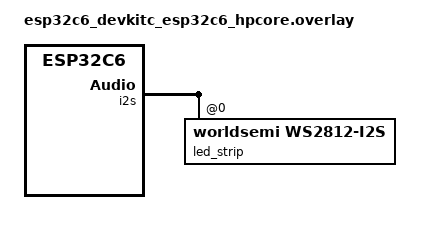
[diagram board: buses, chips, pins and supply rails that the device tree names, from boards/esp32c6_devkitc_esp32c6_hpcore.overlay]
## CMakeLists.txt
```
# SPDX-License-Identifier: MIT

cmake_minimum_required(VERSION 3.20.0)

find_package(Zephyr REQUIRED HINTS $ENV{ZEPHYR_BASE})
project(wifi_ble_scanner)

add_subdirectory(src)
```

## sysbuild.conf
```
# SPDX-License-Identifier: MIT

SB_CONFIG_BOOTLOADER_MCUBOOT=y
```

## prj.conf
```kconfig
## SPDX-License-Identifier: MIT

CONFIG_LOG=y
CONFIG_LOG_DEFAULT_LEVEL=3
CONFIG_LOG_MAX_LEVEL=3
CONFIG_CONSOLE=y
CONFIG_REBOOT=y
CONFIG_UART_CONSOLE=y
CONFIG_LED_STRIP=y

CONFIG_NETWORKING=y
CONFIG_NET_IPV4=y
CONFIG_NET_DHCPV4=y
CONFIG_NET_IPV6=n
CONFIG_NET_HOSTNAME_ENABLE=y
CONFIG_NET_HOSTNAME_DYNAMIC=y
CONFIG_NET_HOSTNAME_MAX_LEN=63
CONFIG_NET_HOSTNAME="wifi-ble-scanner"
CONFIG_NET_UDP=y
CONFIG_NET_SOCKETS=y

CONFIG_WIFI=y
CONFIG_NET_L2_WIFI_SHELL=y
CONFIG_WIFI_CREDENTIALS=y

CONFIG_BOOTLOADER_MCUBOOT=y

CONFIG_NET_BUF=y
CONFIG_ZCBOR=y
CONFIG_CRC=y
CONFIG_IMG_MANAGER=y
CONFIG_MCUBOOT_IMG_MANAGER=y
CONFIG_MCUMGR=y
CONFIG_MCUMGR_MGMT_NOTIFICATION_HOOKS=y
CONFIG_MCUMGR_GRP_IMG=y
CONFIG_MCUMGR_GRP_OS=y
CONFIG_MCUMGR_GRP_OS_TASKSTAT=y
CONFIG_MCUMGR_GRP_SHELL=y
CONFIG_MCUMGR_GRP_SETTINGS=y
CONFIG_MCUMGR_GRP_SETTINGS_ACCESS_HOOK=y
CONFIG_MCUMGR_GRP_STAT=y
CONFIG_MCUMGR_TRANSPORT_UDP=y
CONFIG_MCUMGR_TRANSPORT_UDP_IPV4=y
CONFIG_MCUMGR_TRANSPORT_UDP_IPV6=n
CONFIG_BASE64=y
CONFIG_MDNS_RESPONDER=y
CONFIG_STREAM_FLASH=y

CONFIG_FLASH=y
CONFIG_FLASH_PAGE_LAYOUT=y
CONFIG_FLASH_MAP=y
CONFIG_NVS=y
CONFIG_SETTINGS=y
CONFIG_SETTINGS_NVS=y
CONFIG_SETTINGS_RUNTIME=y
CONFIG_SETTINGS_SHELL=y

CONFIG_SHELL=y
CONFIG_SHELL_BACKEND_DUMMY=y
CONFIG_SHELL_BACKEND_DUMMY_BUF_SIZE=1024
CONFIG_SHELL_BACKEND_SERIAL=y
CONFIG_SHELL_PROMPT_UART="wifi-scanner:~$ "

CONFIG_MAIN_STACK_SIZE=4096
CONFIG_SHELL_STACK_SIZE=5200
CONFIG_SYSTEM_WORKQUEUE_STACK_SIZE=4096
CONFIG_MCUMGR_TRANSPORT_UDP_STACK_SIZE=4096

CONFIG_THREAD_MONITOR=y
CONFIG_STATS=y
CONFIG_STATS_NAMES=y

CONFIG_NET_MGMT_EVENT_QUEUE_TIMEOUT=5000
CONFIG_NET_MGMT_EVENT_QUEUE_SIZE=16
```

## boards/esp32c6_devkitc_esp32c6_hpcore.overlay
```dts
/* SPDX-License-Identifier: MIT */

#include <zephyr/dt-bindings/led/led.h>

/ {
	aliases {
		led-strip = &led_strip;
	};
};

&i2s_default {
	group1 {
		pinmux = <I2S_O_SD_GPIO8>;
	};
};

i2s_led: &i2s {
	status = "okay";
	
	dmas = <&dma 3>;
	dma-names = "tx";
	
	led_strip: ws2812@0 {
		compatible = "worldsemi,ws2812-i2s";
		
		reg = <0>;
		chain-length = <1>;
		color-mapping = <LED_COLOR_ID_GREEN
		LED_COLOR_ID_RED
		LED_COLOR_ID_BLUE>;
		reset-delay = <500>;
	};
};

&dma {
	status = "okay";
};
```

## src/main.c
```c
/* SPDX-License-Identifier: MIT */

#include <wifi_ble_scanner/settings.h>
#include <wifi_ble_scanner/shell.h>
#include <wifi_ble_scanner/wifi.h>
#include <zephyr/logging/log.h>
#include <zephyr/net/net_if.h>

LOG_MODULE_REGISTER(wifi_ble_scanner, LOG_LEVEL_INF);

static void main_maybe_autoconnect(struct net_if* wifi_iface) {
  int ret;

  if (!wifi_ble_scanner_settings_autoconnect_on_boot()) {
    LOG_INF("Boot auto-connect is disabled. Use settings write string %s/%s true to enable it.",
            WIFI_BLE_SCANNER_SETTINGS_NAME, WIFI_BLE_SCANNER_SETTING_AUTOCONNECT);
    return;
  }

  ret = wifi_ble_scanner_wifi_request_autoconnect(wifi_iface);
  if (ret != 0) {
    LOG_WRN("Stored Wi-Fi auto-connect request failed: %d", ret);
    return;
  }

  LOG_INF("Stored Wi-Fi auto-connect requested.");
}

int main(void) {
  struct net_if* wifi_iface = net_if_get_first_wifi();
  int ret;

  LOG_INF("wifi_ble_scanner starting on %s", CONFIG_BOARD_TARGET);

  if (wifi_iface == NULL) {
    LOG_ERR("No Wi-Fi interface found.");
    return 0;
  }

  wifi_ble_scanner_shell_init();
  wifi_ble_scanner_wifi_init(wifi_iface);

  ret = wifi_ble_scanner_settings_load();
  if (ret != 0) {
    LOG_WRN("settings_load failed: %d", ret);
  }

  LOG_INF("UART shell is ready. Use 'app', 'wifi', 'wifi cred', and 'settings' commands.");
  wifi_ble_scanner_wifi_log_stored_credentials();
  main_maybe_autoconnect(wifi_iface);
  LOG_INF("BLE scanning is not implemented yet.");

  return 0;
}
```

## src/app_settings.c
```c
/* SPDX-License-Identifier: MIT */

#include <stdbool.h>
#include <string.h>
#include <wifi_ble_scanner/app_settings.h>
#include <zephyr/logging/log.h>
#include <zephyr/settings/settings.h>

LOG_MODULE_DECLARE(wifi_ble_scanner, LOG_LEVEL_INF);

static bool autoconnect_on_boot;

static bool parse_bool_setting(const char* value, size_t len, bool* parsed_value) {
  if (len == 1U && value[0] == '0') {
    *parsed_value = false;
    return true;
  }

  if (len == 1U && value[0] == '1') {
    *parsed_value = true;
    return true;
  }

  if (len == 4U && strncmp(value, "true", len) == 0) {
    *parsed_value = true;
    return true;
  }

  if (len == 5U && strncmp(value, "false", len) == 0) {
    *parsed_value = false;
    return true;
  }

  return false;
}

static int app_settings_set(const char* name, size_t len, settings_read_cb read_cb, void* cb_arg) {
  char value[6] = {0};
  const char* next = NULL;
  ssize_t read_len;
  bool parsed_value;

  if (!settings_name_steq(name, WIFI_BLE_SCANNER_SETTING_AUTOCONNECT, &next) || next != NULL) {
    return -ENOENT;
  }

  if (len == 0U || len >= sizeof(value)) {
    return -EINVAL;
  }

  read_len = read_cb(cb_arg, value, len);
  if (read_len < 0) {
    return (int)read_len;
  }

  if ((size_t)read_len != len) {
    return -EINVAL;
  }

  if (!parse_bool_setting(value, len, &parsed_value)) {
    return -EINVAL;
  }

  autoconnect_on_boot = parsed_value;
  return 0;
}

static int app_settings_commit(void) {
  LOG_INF("Setting %s/%s=%s", WIFI_BLE_SCANNER_SETTINGS_NAME, WIFI_BLE_SCANNER_SETTING_AUTOCONNECT,
          autoconnect_on_boot ? "true" : "false");
  return 0;
}

static int app_settings_export(int (*cb)(const char* name, const void* value, size_t val_len)) {
  static const char enabled[] = "true";
  static const char disabled[] = "false";
  const char* value = autoconnect_on_boot ? enabled : disabled;

  return cb(WIFI_BLE_SCANNER_SETTINGS_NAME "/" WIFI_BLE_SCANNER_SETTING_AUTOCONNECT, value, strlen(value));
}

SETTINGS_STATIC_HANDLER_DEFINE(wifi_ble_scanner, WIFI_BLE_SCANNER_SETTINGS_NAME, NULL, app_settings_set,
                               app_settings_commit, app_settings_export);

int wifi_ble_scanner_settings_load(void) { return settings_load(); }

bool wifi_ble_scanner_settings_autoconnect_on_boot(void) { return autoconnect_on_boot; }
```

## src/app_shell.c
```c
/* SPDX-License-Identifier: MIT */

#include <wifi_ble_scanner/app_shell.h>
#include <zephyr/shell/shell.h>
#include <zephyr/sys/reboot.h>

static int cmd_app_reboot(const struct shell* shell, size_t argc, char* argv[]) {
  ARG_UNUSED(argc);
  ARG_UNUSED(argv);

  shell_print(shell, "Rebooting...");
  sys_reboot(SYS_REBOOT_COLD);
}

SHELL_STATIC_SUBCMD_SET_CREATE(app_cmds, SHELL_CMD_ARG(reboot, NULL, "Reboot the device.", cmd_app_reboot, 1, 0),
                               SHELL_SUBCMD_SET_END);

SHELL_CMD_REGISTER(app, &app_cmds, "Application commands", NULL);

void wifi_ble_scanner_shell_init(void) {}
```

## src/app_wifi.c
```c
/* SPDX-License-Identifier: MIT */

#include <wifi_ble_scanner/app_wifi.h>
#include <zephyr/logging/log.h>
#include <zephyr/net/net_if.h>
#include <zephyr/net/net_mgmt.h>
#include <zephyr/net/wifi_credentials.h>
#include <zephyr/net/wifi_mgmt.h>

LOG_MODULE_DECLARE(wifi_ble_scanner, LOG_LEVEL_INF);

#define WIFI_EVENT_MASK (NET_EVENT_WIFI_CONNECT_RESULT | NET_EVENT_WIFI_DISCONNECT_RESULT)

static struct net_mgmt_event_callback wifi_event_cb;

static void count_stored_ssid(void* cb_arg, const char* ssid, size_t ssid_len) {
  size_t* count = cb_arg;

  ARG_UNUSED(ssid);
  ARG_UNUSED(ssid_len);

  (*count)++;
}

static void handle_wifi_connect_result(const struct net_mgmt_event_callback* cb) {
  const struct wifi_status* status = cb->info;

  if (status == NULL) {
    LOG_WRN("Wi-Fi connect result received without status information.");
    return;
  }

  if (status->status != 0) {
    LOG_WRN("Wi-Fi connection failed: %d", status->status);
    return;
  }

  LOG_INF("Wi-Fi connected.");
}

static void handle_wifi_disconnect_result(const struct net_mgmt_event_callback* cb) {
  const struct wifi_status* status = cb->info;

  if (status == NULL) {
    LOG_WRN("Wi-Fi disconnect result received without status information.");
    return;
  }

  if (status->status != 0) {
    LOG_WRN("Wi-Fi disconnect completed with status: %d", status->status);
    return;
  }

  LOG_INF("Wi-Fi disconnected.");
}

static void wifi_event_handler(struct net_mgmt_event_callback* cb, uint64_t mgmt_event, struct net_if* iface) {
  ARG_UNUSED(iface);

  switch (mgmt_event) {
    case NET_EVENT_WIFI_CONNECT_RESULT:
      handle_wifi_connect_result(cb);
      break;
    case NET_EVENT_WIFI_DISCONNECT_RESULT:
      handle_wifi_disconnect_result(cb);
      break;
    default:
      break;
  }
}

void wifi_ble_scanner_wifi_init(struct net_if* wifi_iface) {
  ARG_UNUSED(wifi_iface);

  net_mgmt_init_event_callback(&wifi_event_cb, wifi_event_handler, WIFI_EVENT_MASK);
  net_mgmt_add_event_callback(&wifi_event_cb);
}

void wifi_ble_scanner_wifi_log_stored_credentials(void) {
  size_t stored_networks = 0;

  wifi_credentials_for_each_ssid(count_stored_ssid, &stored_networks);

  if (stored_networks == 0U) {
    LOG_INF("No stored Wi-Fi credentials. Use 'wifi cred add ...' from the UART shell.");
    return;
  }

  LOG_INF("Found %u stored Wi-Fi credential(s). Use 'wifi cred list' or 'wifi cred auto_connect'.",
          (unsigned int)stored_networks);
}

int wifi_ble_scanner_wifi_request_autoconnect(struct net_if* wifi_iface) {
  return net_mgmt(NET_REQUEST_WIFI_CONNECT_STORED, wifi_iface, NULL, 0);
}
```

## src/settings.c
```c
/* SPDX-License-Identifier: MIT */

#include <stdbool.h>
#include <string.h>
#include <wifi_ble_scanner/settings.h>
#include <zephyr/logging/log.h>
#include <zephyr/settings/settings.h>

LOG_MODULE_DECLARE(wifi_ble_scanner, LOG_LEVEL_INF);

static bool autoconnect_on_boot;

static bool settings_parse_bool(const char* value, size_t len, bool* parsed_value) {
  if (len == 1U && value[0] == '0') {
    *parsed_value = false;
    return true;
  }

  if (len == 1U && value[0] == '1') {
    *parsed_value = true;
    return true;
  }

  if (len == 4U && strncmp(value, "true", len) == 0) {
    *parsed_value = true;
    return true;
  }

  if (len == 5U && strncmp(value, "false", len) == 0) {
    *parsed_value = false;
    return true;
  }

  return false;
}

static int settings_handler_set(const char* name, size_t len, settings_read_cb read_cb, void* cb_arg) {
  char value[6] = {0};
  const char* next = NULL;
  ssize_t read_len;
  bool parsed_value;

  if (!settings_name_steq(name, WIFI_BLE_SCANNER_SETTING_AUTOCONNECT, &next) || next != NULL) {
    return -ENOENT;
  }

  if (len == 0U || len >= sizeof(value)) {
    return -EINVAL;
  }

  read_len = read_cb(cb_arg, value, len);
  if (read_len < 0) {
    return (int)read_len;
  }

  if ((size_t)read_len != len) {
    return -EINVAL;
  }

  if (!settings_parse_bool(value, len, &parsed_value)) {
    return -EINVAL;
  }

  autoconnect_on_boot = parsed_value;
  return 0;
}

static int settings_handler_commit(void) {
  LOG_INF("Setting %s/%s=%s", WIFI_BLE_SCANNER_SETTINGS_NAME, WIFI_BLE_SCANNER_SETTING_AUTOCONNECT,
          autoconnect_on_boot ? "true" : "false");
  return 0;
}

static int settings_handler_export(int (*cb)(const char* name, const void* value, size_t val_len)) {
  static const char enabled[] = "true";
  static const char disabled[] = "false";
  const char* value = autoconnect_on_boot ? enabled : disabled;

  return cb(WIFI_BLE_SCANNER_SETTINGS_NAME "/" WIFI_BLE_SCANNER_SETTING_AUTOCONNECT, value, strlen(value));
}

SETTINGS_STATIC_HANDLER_DEFINE(wifi_ble_scanner, WIFI_BLE_SCANNER_SETTINGS_NAME, NULL, settings_handler_set,
                               settings_handler_commit, settings_handler_export);

int wifi_ble_scanner_settings_load(void) { return settings_load(); }

bool wifi_ble_scanner_settings_autoconnect_on_boot(void) { return autoconnect_on_boot; }
```

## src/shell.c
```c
/* SPDX-License-Identifier: MIT */

#include <wifi_ble_scanner/shell.h>
#include <zephyr/shell/shell.h>
#include <zephyr/sys/reboot.h>

static int shell_cmd_reboot(const struct shell* shell, size_t argc, char* argv[]) {
  ARG_UNUSED(argc);
  ARG_UNUSED(argv);

  shell_print(shell, "Rebooting...");
  sys_reboot(SYS_REBOOT_COLD);
}

SHELL_STATIC_SUBCMD_SET_CREATE(shell_cmds, SHELL_CMD_ARG(reboot, NULL, "Reboot the device.", shell_cmd_reboot, 1, 0),
                               SHELL_SUBCMD_SET_END);

SHELL_CMD_REGISTER(app, &shell_cmds, "Application commands", NULL);

void wifi_ble_scanner_shell_init(void) {}
```

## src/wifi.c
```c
/* SPDX-License-Identifier: MIT */

#include <wifi_ble_scanner/wifi.h>
#include <zephyr/logging/log.h>
#include <zephyr/net/net_if.h>
#include <zephyr/net/net_mgmt.h>
#include <zephyr/net/wifi_credentials.h>
#include <zephyr/net/wifi_mgmt.h>

LOG_MODULE_DECLARE(wifi_ble_scanner, LOG_LEVEL_INF);

#define WIFI_EVENT_MASK (NET_EVENT_WIFI_CONNECT_RESULT | NET_EVENT_WIFI_DISCONNECT_RESULT)

static struct net_mgmt_event_callback wifi_event_cb;

static void wifi_count_stored_ssid(void* cb_arg, const char* ssid, size_t ssid_len) {
  size_t* count = cb_arg;

  ARG_UNUSED(ssid);
  ARG_UNUSED(ssid_len);

  (*count)++;
}

static void wifi_handle_connect_result(const struct net_mgmt_event_callback* cb) {
  const struct wifi_status* status = cb->info;

  if (status == NULL) {
    LOG_WRN("Wi-Fi connect result received without status information.");
    return;
  }

  if (status->status != 0) {
    LOG_WRN("Wi-Fi connection failed: %d", status->status);
    return;
  }

  LOG_INF("Wi-Fi connected.");
}

static void wifi_handle_disconnect_result(const struct net_mgmt_event_callback* cb) {
  const struct wifi_status* status = cb->info;

  if (status == NULL) {
    LOG_WRN("Wi-Fi disconnect result received without status information.");
    return;
  }

  if (status->status != 0) {
    LOG_WRN("Wi-Fi disconnect completed with status: %d", status->status);
    return;
  }

  LOG_INF("Wi-Fi disconnected.");
}

static void wifi_event_handler(struct net_mgmt_event_callback* cb, uint64_t mgmt_event, struct net_if* iface) {
  ARG_UNUSED(iface);

  switch (mgmt_event) {
    case NET_EVENT_WIFI_CONNECT_RESULT:
      wifi_handle_connect_result(cb);
      break;
    case NET_EVENT_WIFI_DISCONNECT_RESULT:
      wifi_handle_disconnect_result(cb);
      break;
    default:
      break;
  }
}

void wifi_ble_scanner_wifi_init(struct net_if* wifi_iface) {
  ARG_UNUSED(wifi_iface);

  net_mgmt_init_event_callback(&wifi_event_cb, wifi_event_handler, WIFI_EVENT_MASK);
  net_mgmt_add_event_callback(&wifi_event_cb);
}

void wifi_ble_scanner_wifi_log_stored_credentials(void) {
  size_t stored_networks = 0;

  wifi_credentials_for_each_ssid(wifi_count_stored_ssid, &stored_networks);

  if (stored_networks == 0U) {
    LOG_INF("No stored Wi-Fi credentials. Use 'wifi cred add ...' from the UART shell.");
    return;
  }

  LOG_INF("Found %u stored Wi-Fi credential(s). Use 'wifi cred list' or 'wifi cred auto_connect'.",
          (unsigned int)stored_networks);
}

int wifi_ble_scanner_wifi_request_autoconnect(struct net_if* wifi_iface) {
  return net_mgmt(NET_REQUEST_WIFI_CONNECT_STORED, wifi_iface, NULL, 0);
}
```
